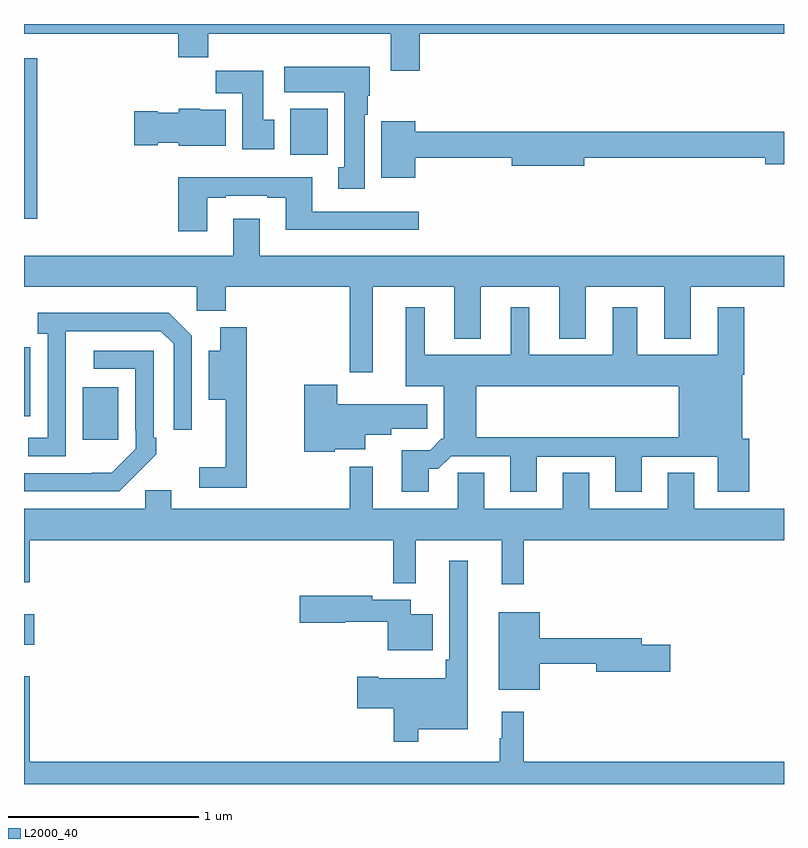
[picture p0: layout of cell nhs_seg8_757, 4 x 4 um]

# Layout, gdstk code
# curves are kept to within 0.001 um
import gdstk
lib = gdstk.Library(unit=1e-6, precision=1e-09)
def R(c, l, rs):  # rectangles x0, y0, x1, y1
    for r in rs: c.add(gdstk.rectangle(r[:2], r[2:], *l))
def P(c, l, *ps):  # polygons
    for p in ps: c.add(gdstk.Polygon(p, *l))
L2000_40 = (2000, 40)

nhs_seg8_757 = lib.new_cell('nhs_seg8_757')
R(nhs_seg8_757, L2000_40, [(161,1098.632,161.053,1098.793), (161.309,1099.713,161.497,1099.987), (161,1100.874,161.069,1101.721), (162.401,1101.212,162.598,1101.454)])
P(nhs_seg8_757, L2000_40, [(163.082,1101.848),(165,1101.848),(165,1101.9),(161,1101.9),(161,1101.848),(161.813,1101.848),(161.813,1101.724),(161.969,1101.724),(161.969,1101.848),(162.929,1101.848),(162.929,1101.654),(163.082,1101.654)],
  [(162.793,1101.422),(162.808,1101.422),(162.808,1101.522),(162.82,1101.522),(162.82,1101.676),(162.369,1101.676),(162.369,1101.542),(162.686,1101.542),(162.686,1101.146),(162.653,1101.146),(162.653,1101.033),(162.793,1101.033)],
  [(162.316,1101.396),(162.259,1101.396),(162.259,1101.655),(162.01,1101.655),(162.01,1101.536),(162.149,1101.536),(162.149,1101.24),(162.316,1101.24)],
  [(162.061,1101.448),(161.928,1101.448),(161.928,1101.454),(161.814,1101.454),(161.814,1101.433),(161.703,1101.433),(161.703,1101.441),(161.58,1101.441),(161.58,1101.263),(161.703,1101.263),(161.703,1101.275),(161.814,1101.275),(161.814,1101.26),(162.061,1101.26)],
  [(163.06,1101.196),(163.568,1101.196),(163.568,1101.154),(163.948,1101.154),(163.948,1101.196),(164.9,1101.196),(164.9,1101.161),(165,1101.161),(165,1101.332),(163.06,1101.332),(163.06,1101.388),(162.881,1101.388),(162.881,1101.092),(163.06,1101.092)],
  [(161.965,1100.985),(162.061,1100.985),(162.061,1100.997),(162.281,1100.997),(162.281,1100.985),(162.377,1100.985),(162.377,1100.816),(163.078,1100.816),(163.078,1100.913),(162.517,1100.913),(162.517,1101.094),(161.813,1101.094),(161.813,1100.808),(161.965,1100.808)],
  [(162.835,1100.516),(163.265,1100.516),(163.265,1100.243),(163.405,1100.243),(163.405,1100.516),(163.817,1100.516),(163.817,1100.243),(163.957,1100.243),(163.957,1100.516),(164.369,1100.516),(164.369,1100.243),(164.509,1100.243),(164.509,1100.516),(165,1100.516),(165,1100.68),(162.241,1100.68),(162.241,1100.875),(162.101,1100.875),(162.101,1100.68),(161,1100.68),(161,1100.516),(161.91,1100.516),(161.91,1100.39),(162.062,1100.39),(162.062,1100.516),(162.714,1100.516),(162.714,1100.067),(162.835,1100.067)],
  [(163.197,1099.716),(163.138,1099.657),(162.989,1099.657),(162.989,1099.437),(163.129,1099.437),(163.129,1099.559),(163.181,1099.559),(163.248,1099.626),(163.559,1099.626),(163.559,1099.437),(163.699,1099.437),(163.699,1099.623),(164.111,1099.623),(164.111,1099.437),(164.251,1099.437),(164.251,1099.623),(164.651,1099.623),(164.651,1099.437),(164.816,1099.437),(164.816,1099.716),(164.779,1099.716),(164.779,1100.054),(164.792,1100.054),(164.792,1100.41),(164.651,1100.41),(164.651,1100.158),(164.227,1100.158),(164.227,1100.41),(164.099,1100.41),(164.099,1100.158),(163.66,1100.158),(163.66,1100.41),(163.562,1100.41),(163.562,1100.158),(163.108,1100.158),(163.108,1100.41),(163.01,1100.41),(163.01,1099.994),(163.208,1099.994),(163.208,1099.724),(163.379,1099.724),(163.379,1099.994),(164.447,1099.994),(164.447,1099.724),(163.208,1099.724),(163.208,1099.716)],
  [(161.22,1100.083),(161.221,1100.283),(161.721,1100.283),(161.787,1100.217),(161.787,1099.764),(161.883,1099.764),(161.883,1100.259),(161.762,1100.38),(161.073,1100.38),(161.073,1100.27),(161.124,1100.27),(161.124,1099.722),(161.022,1099.722),(161.022,1099.626),(161.22,1099.626)],
  [(162.172,1100.305),(162.032,1100.305),(162.032,1100.179),(161.972,1100.179),(161.972,1099.922),(162.062,1099.922),(162.062,1099.567),(161.922,1099.567),(161.922,1099.458),(162.172,1099.458)],
  [(161.034,1100.09),(161.033,1100.09),(161.033,1100.199),(161,1100.199),(161,1099.836),(161.034,1099.836)],
  [(161.591,1099.531),(161.592,1099.53),(161.697,1099.635),(161.697,1099.723),(161.682,1099.723),(161.682,1100.181),(161.367,1100.181),(161.367,1100.085),(161.586,1100.085),(161.586,1099.765),(161.589,1099.765),(161.589,1099.665),(161.461,1099.537),(161,1099.536),(161,1099.44),(161.5,1099.44)],
  [(162.636,1099.661),(162.796,1099.661),(162.796,1099.739),(162.934,1099.739),(162.934,1099.77),(163.123,1099.77),(163.123,1099.9),(162.648,1099.9),(162.648,1100.002),(162.475,1100.002),(162.475,1099.649),(162.636,1099.649)],
  [(163.631,1099.184),(165,1099.184),(165,1099.348),(164.527,1099.348),(164.527,1099.538),(164.387,1099.538),(164.387,1099.348),(163.975,1099.348),(163.975,1099.538),(163.835,1099.538),(163.835,1099.348),(163.423,1099.348),(163.423,1099.538),(163.284,1099.538),(163.284,1099.348),(162.835,1099.348),(162.835,1099.57),(162.714,1099.57),(162.714,1099.348),(161.776,1099.348),(161.776,1099.446),(161.637,1099.446),(161.637,1099.348),(161,1099.348),(161,1098.963),(161.029,1098.963),(161.029,1099.184),(162.943,1099.184),(162.943,1098.956),(163.061,1098.956),(163.061,1099.184),(163.514,1099.184),(163.514,1098.951),(163.631,1098.951)],
  [(163.075,1098.188),(163.336,1098.188),(163.336,1099.075),(163.239,1099.075),(163.239,1098.553),(163.219,1098.553),(163.219,1098.457),(162.865,1098.457),(162.865,1098.465),(162.753,1098.465),(162.753,1098.299),(162.946,1098.299),(162.946,1098.123),(163.075,1098.123)],
  [(163.15,1098.793),(163.036,1098.793),(163.036,1098.871),(162.834,1098.871),(162.834,1098.891),(162.45,1098.891),(162.45,1098.749),(162.69,1098.749),(162.69,1098.754),(162.914,1098.754),(162.914,1098.605),(163.15,1098.605)],
  [(163.714,1098.532),(164.012,1098.532),(164.012,1098.49),(164.401,1098.49),(164.401,1098.632),(164.251,1098.632),(164.251,1098.668),(163.714,1098.668),(163.714,1098.805),(163.499,1098.805),(163.499,1098.395),(163.714,1098.395)],
  [(165,1098.016),(163.631,1098.016),(163.631,1098.28),(163.514,1098.28),(163.514,1098.14),(163.503,1098.14),(163.503,1098.016),(161.029,1098.016),(161.029,1098.466),(161,1098.466),(161,1097.9),(165,1097.9)])

lib.write_gds('nhs_seg8_757.gds')
